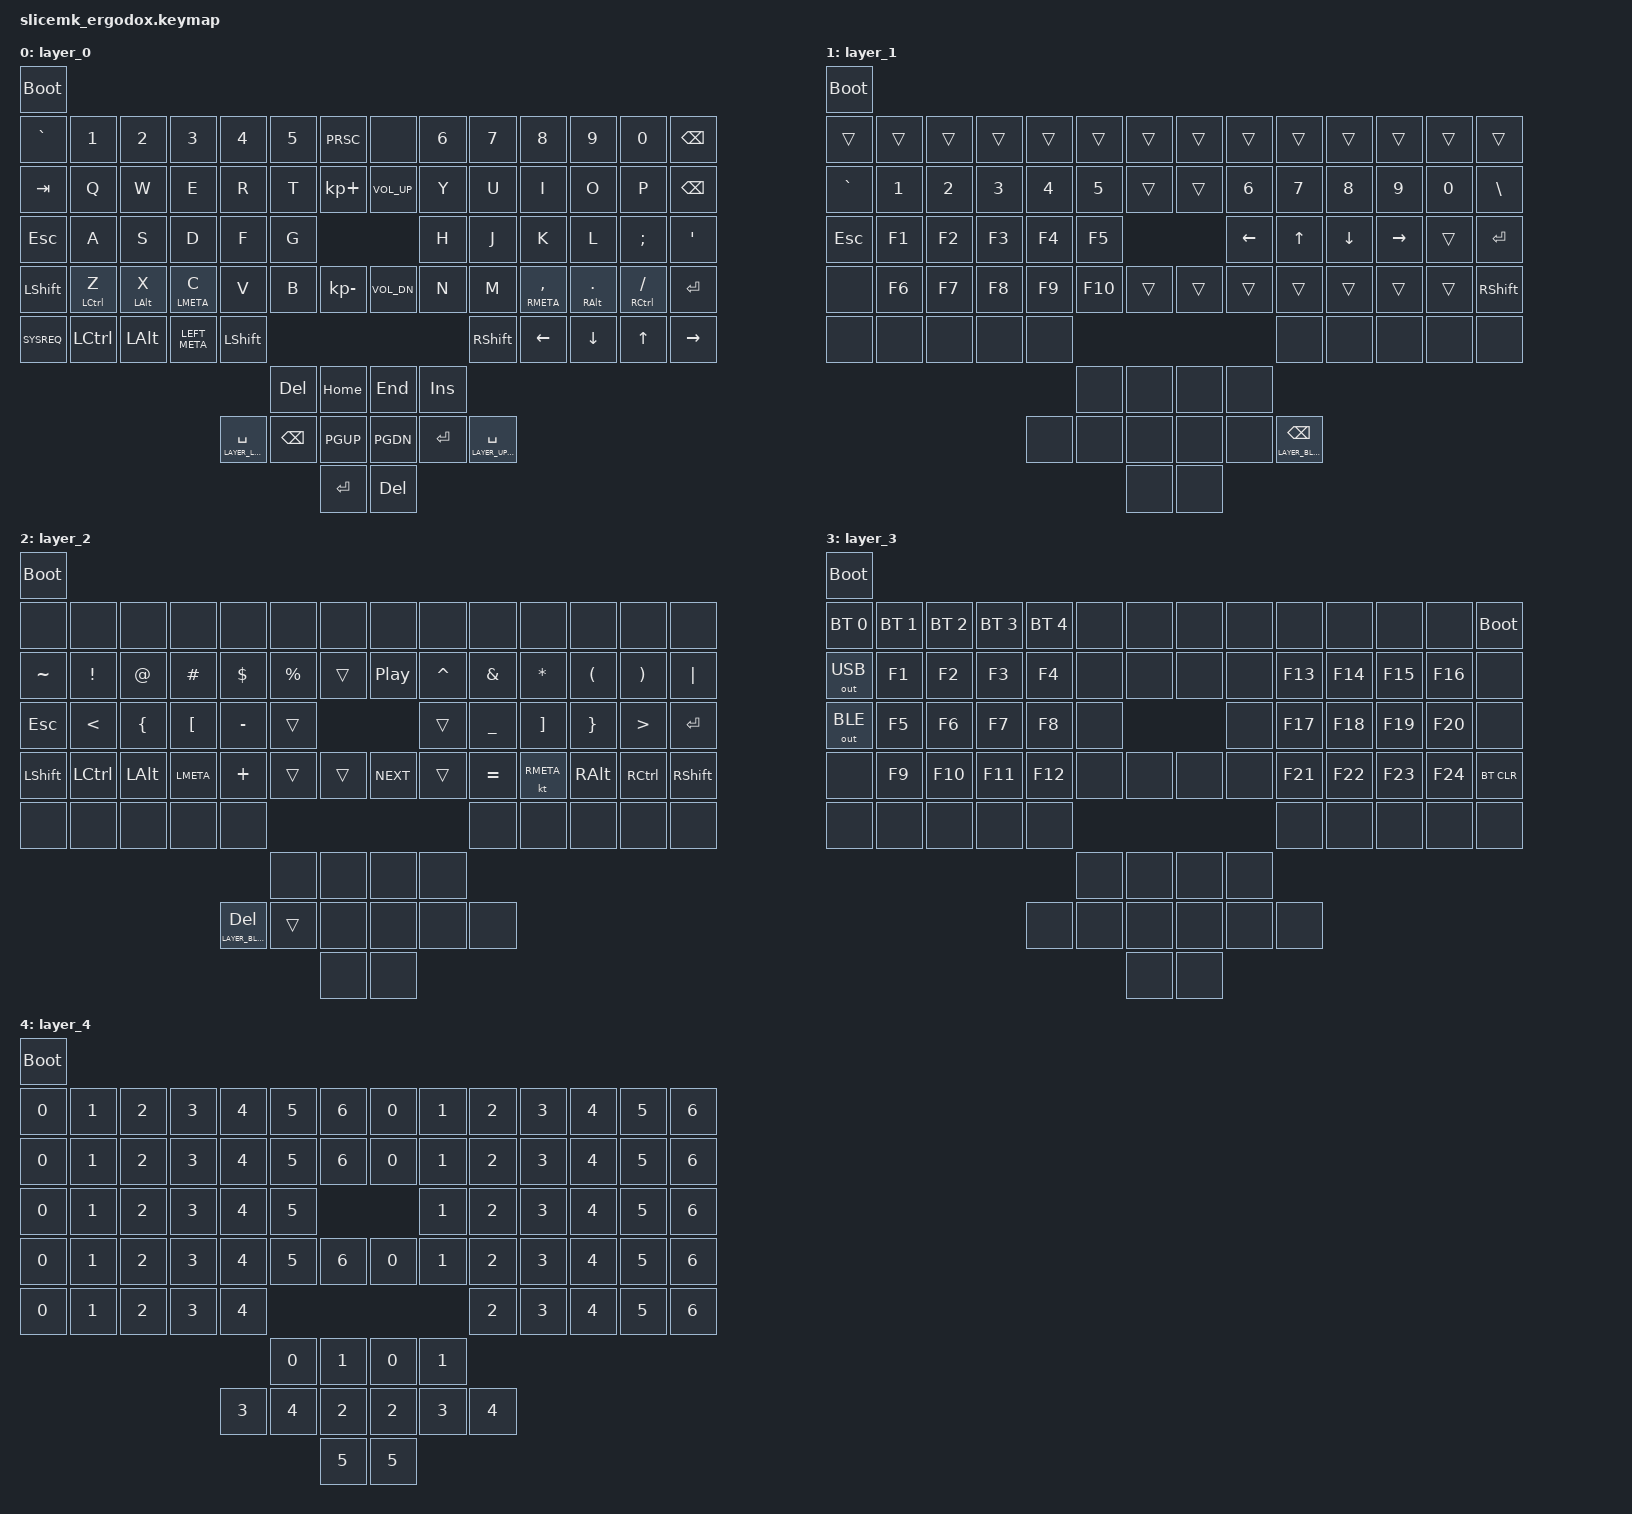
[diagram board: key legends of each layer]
#include <behaviors.dtsi>
#include <dt-bindings/zmk/bt.h>
#include <dt-bindings/zmk/keys.h>
#include <dt-bindings/zmk/outputs.h>
#include <dt-bindings/zmk/rgb.h>

#define LAYER_MAIN 0
#define LAYER_LOWER 1
#define LAYER_UPPER 2
#define LAYER_BLUETOOTH 3
#define LAYER_TESTING 4



/ {
	keymap {
		compatible = "zmk,keymap";
		layer_0 {
			bindings = <
				&bootloader
				&kp GRAV   &kp NUMBER_1 &kp NUMBER_2 &kp NUMBER_3  &kp NUMBER_4          &kp NUMBER_5 &kp PRSC     &none        &kp NUMBER_6 &kp NUMBER_7          &kp NUMBER_8   &kp NUMBER_9 &kp NUMBER_0   &kp BKSP
				&kp TAB    &kp Q        &kp W        &kp E         &kp R                 &kp T        &kp KP_PLUS  &kp K_VOL_UP &kp Y        &kp U                 &kp I          &kp O        &kp P          &kp BKSP
				&kp ESC    &kp A        &kp S        &kp D         &kp F                 &kp G                                  &kp H        &kp J                 &kp K          &kp L        &kp SEMICOLON  &kp APOS
				&kp LSHIFT &mt LCTRL Z  &mt LALT X   &mt LMETA C   &kp V                 &kp B        &kp KP_MINUS &kp K_VOL_DN &kp N        &kp M                 &mt RMETA CMMA &mt RALT DOT &mt RCTRL FSLH &kp ENTER
				&kp SYSREQ &kp LCTRL    &kp LALT     &kp LEFT_META &kp LSHIFT                                                                &kp RSHIFT            &kp LEFT       &kp DOWN     &kp UP         &kp RIGHT
				                                                                         &kp DEL      &kp HOME     &kp END      &kp INS
				                                                   &lt LAYER_LOWER SPACE &kp BKSP     &kp PGUP     &kp PGDN     &kp ENTER    &lt LAYER_UPPER SPACE
				                                                                                      &kp RET      &kp DEL
			>;
		};
		layer_1 {
			bindings = <
				&bootloader
				&trans    &trans &trans &trans &trans &trans  &trans &trans &trans   &trans                   &trans   &trans    &trans &trans
				&kp GRAVE &kp N1 &kp N2 &kp N3 &kp N4 &kp N5  &trans &trans &kp N6   &kp N7                   &kp N8   &kp N9    &kp N0 &kp BSLH
				&kp ESC   &kp F1 &kp F2 &kp F3 &kp F4 &kp F5                &kp LEFT &kp UP                   &kp DOWN &kp RIGHT &trans &kp ENTER
				&none     &kp F6 &kp F7 &kp F8 &kp F9 &kp F10 &trans &trans &trans   &trans                   &trans   &trans    &trans &kp RSHIFT
				&none     &none  &none  &none  &none                                 &none                    &none    &none     &none  &none
				                                      &none   &none  &none  &none
				                               &none  &none   &none  &none  &none    &lt LAYER_BLUETOOTH BSPC
				                                              &none  &none
			>;
		};
		layer_2 {
			bindings = <
				&bootloader
				&none      &none     &none    &none     &none                   &none       &none  &none            &none     &none         &none        &none                &none                 &none
				&kp TILDE  &kp EXCL  &kp AT   &kp HASH  &kp DOLLAR              &kp PERCENT &trans &kp C_PLAY_PAUSE &kp CARET &kp AMPERSAND &kp ASTERISK &kp LEFT_PARENTHESIS &kp RIGHT_PARENTHESIS &kp PIPE
				&kp ESC    &kp LT    &kp LBRC &kp LBKT  &kp MINUS               &trans                              &trans    &kp UNDER     &kp RBKT     &kp RBRC             &kp GT                &kp ENTER
				&kp LSHIFT &kp LCTRL &kp LALT &kp LMETA &kp PLUS                &trans      &trans &kp C_NEXT       &trans    &kp EQUAL     &kt RMETA    &kp RALT             &kp RCTRL             &kp RSHIFT
				&none      &none     &none    &none     &none                                                                 &none         &none        &none                &none                 &none
				                                                                &none       &none  &none            &none
				                                        &lt LAYER_BLUETOOTH DEL &trans      &none  &none            &none     &none
				                                                                            &none  &none
			>;
		};
		layer_3 {
			bindings = <
				&bootloader
				&bt BT_SEL 0 &bt BT_SEL 1 &bt BT_SEL 2 &bt BT_SEL 3 &bt BT_SEL 4 &none &none &none &none &none   &none   &none   &none   &bootloader
				&out OUT_USB &kp F1       &kp F2       &kp F3       &kp F4       &none &none &none &none &kp F13 &kp F14 &kp F15 &kp F16 &none
				&out OUT_BLE &kp F5       &kp F6       &kp F7       &kp F8       &none             &none &kp F17 &kp F18 &kp F19 &kp F20 &none
				&none        &kp F9       &kp F10      &kp F11      &kp F12      &none &none &none &none &kp F21 &kp F22 &kp F23 &kp F24 &bt BT_CLR
				&none        &none        &none        &none        &none                                &none   &none   &none   &none   &none
				                                                                 &none &none &none &none
				                                                    &none        &none &none &none &none &none
				                                                                       &none &none
			>;
		};
		layer_4 {
			bindings = <
				&bootloader
				&kp NUM_0 &kp NUM_1 &kp NUM_2 &kp NUM_3 &kp NUM_4 &kp NUM_5 &kp NUM_6 &kp NUM_0 &kp NUM_1 &kp NUM_2 &kp NUM_3 &kp NUM_4 &kp NUM_5 &kp NUM_6
				&kp NUM_0 &kp NUM_1 &kp NUM_2 &kp NUM_3 &kp NUM_4 &kp NUM_5 &kp NUM_6 &kp NUM_0 &kp NUM_1 &kp NUM_2 &kp NUM_3 &kp NUM_4 &kp NUM_5 &kp NUM_6
				&kp NUM_0 &kp NUM_1 &kp NUM_2 &kp NUM_3 &kp NUM_4 &kp NUM_5                     &kp NUM_1 &kp NUM_2 &kp NUM_3 &kp NUM_4 &kp NUM_5 &kp NUM_6
				&kp NUM_0 &kp NUM_1 &kp NUM_2 &kp NUM_3 &kp NUM_4 &kp NUM_5 &kp NUM_6 &kp NUM_0 &kp NUM_1 &kp NUM_2 &kp NUM_3 &kp NUM_4 &kp NUM_5 &kp NUM_6
				&kp NUM_0 &kp NUM_1 &kp NUM_2 &kp NUM_3 &kp NUM_4                                         &kp NUM_2 &kp NUM_3 &kp NUM_4 &kp NUM_5 &kp NUM_6
				                                                  &kp NUM_0 &kp NUM_1 &kp NUM_0 &kp NUM_1
				                                        &kp NUM_3 &kp NUM_4 &kp NUM_2 &kp NUM_2 &kp NUM_3 &kp NUM_4
				                                                            &kp NUM_5 &kp NUM_5
			>;
		};
	};

};
